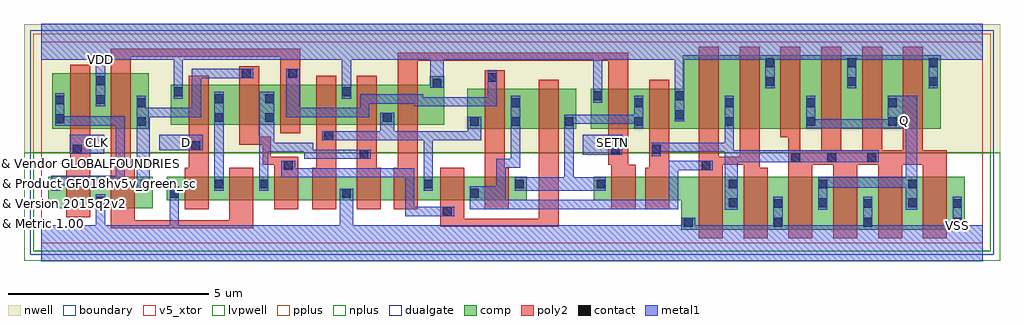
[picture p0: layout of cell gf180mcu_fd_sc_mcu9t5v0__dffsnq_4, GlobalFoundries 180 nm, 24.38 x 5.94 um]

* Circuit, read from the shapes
.subckt gf180mcu_fd_sc_mcu9t5v0__dffsnq_4 CLK D Q SETN VDD VSS
XM1 VSS CLK n1 VSUBS nfet_05v0 w=0.79u l=0.6u
XM2 n2 n1 VSS VSUBS nfet_05v0 w=0.79u l=0.6u
XM3 n3 D VSS VSUBS nfet_05v0 w=0.59u l=0.6u
XM4 n4 n1 n3 VSUBS nfet_05v0 w=0.59u l=0.6u
XM5 n5 n2 n4 VSUBS nfet_05v0 w=0.59u l=0.6u
XM6 VSS n6 n5 VSUBS nfet_05v0 w=0.59u l=0.6u
XM7 n7 n4 VSS VSUBS nfet_05v0 w=0.59u l=0.6u
XM8 n6 SETN n7 VSUBS nfet_05v0 w=0.59u l=0.6u
XM9 n8 n2 n6 VSUBS nfet_05v0 w=0.59u l=0.6u
XM10 n9 n1 n8 VSUBS nfet_05v0 w=0.59u l=0.6u
XM11 n10 SETN n9 VSUBS nfet_05v0 w=0.59u l=0.6u
XM12 VSS n11 n10 VSUBS nfet_05v0 w=0.59u l=0.6u
XM13 n11 n8 VSS VSUBS nfet_05v0 w=1.32u l=0.6u m=2
XM14 Q n11 VSS VSUBS nfet_05v0 w=1.32u l=0.6u m=4
XM15 VDD CLK n1 n12 pfet_05v0 w=1.38u l=0.5u
XM16 n2 n1 VDD n12 pfet_05v0 w=1.38u l=0.5u
XM17 n3 D VDD n12 pfet_05v0 w=1u l=0.5u
XM18 n4 n2 n3 n12 pfet_05v0 w=1u l=0.5u
XM19 n13 n1 n4 n12 pfet_05v0 w=1u l=0.5u
XM20 VDD n6 n13 n12 pfet_05v0 w=1u l=0.5u
XM21 n6 n4 VDD n12 pfet_05v0 w=1u l=0.5u
XM22 VDD SETN n6 n12 pfet_05v0 w=1u l=0.5u
XM23 n8 n1 n6 n12 pfet_05v0 w=1u l=0.5u
XM24 n9 n2 n8 n12 pfet_05v0 w=1u l=0.5u
XM25 n9 SETN VDD n12 pfet_05v0 w=1u l=0.5u
XM26 VDD n11 n9 n12 pfet_05v0 w=1u l=0.5u
XM27 n11 n8 VDD n12 pfet_05v0 w=1.83u l=0.5u m=2
XM28 Q n11 VDD n12 pfet_05v0 w=1.83u l=0.5u m=4
.ends

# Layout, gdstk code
import gdstk
lib = gdstk.Library(unit=1e-6, precision=1e-09)
def R(c, l, rs):  # rectangles x0, y0, x1, y1
    for r in rs: c.add(gdstk.rectangle(r[:2], r[2:], *l))
def A(c, l, x, y, w, h, nx, ny, dx, dy):  # array of equal rectangles
    R(c, l, [(x+i*dx, y+j*dy, x+i*dx+w, y+j*dy+h) for i in range(nx) for j in range(ny)])
def P(c, l, *ps):  # polygons
    for p in ps: c.add(gdstk.Polygon(p, *l))
boundary = (0, 0)
nwell = (21, 0)
comp = (22, 0)
poly2 = (30, 0)
pplus = (31, 0)
nplus = (32, 0)
contact = (33, 0)
metal1 = (34, 0)
dualgate = (55, 0)
v5_xtor = (112, 1)
lvpwell = (204, 0)

gf180mcu_fd_sc_mcu9t5v0_ = lib.new_cell('gf180mcu_fd_sc_mcu9t5v0__dffsnq_4')
R(gf180mcu_fd_sc_mcu9t5v0_, boundary, [(0,0,23.52,5.04)])
R(gf180mcu_fd_sc_mcu9t5v0_, nwell, [(-0.43,2.265,23.95,5.47)])
R(gf180mcu_fd_sc_mcu9t5v0_, comp, [(0.18,0.875,2.78,1.665), (3.14,1.075,12.125,1.665), (0.28,2.865,2.68,4.245), (10.645,2.865,13.365,3.865)])
P(gf180mcu_fd_sc_mcu9t5v0_, comp, [(3.24,2.965),(3.24,3.965),(9.705,3.965),(9.705,4.18),(10.065,4.18),(10.065,2.965)],
  [(13.725,2.865),(13.725,3.865),(16.025,3.865),(16.025,4.695),(22.465,4.695),(22.465,2.865)],
  [(15.985,0.345),(15.985,1.075),(13.805,1.075),(13.805,1.665),(23.065,1.665),(23.065,0.345)])
P(gf180mcu_fd_sc_mcu9t5v0_, poly2, [(0.62,0.655),(0.62,1.885),(0.72,1.885),(0.72,4.465),(1.22,4.465),(1.22,0.655)],
  [(3.58,0.855),(3.58,1.885),(3.68,1.885),(3.68,4.185),(4.18,4.185),(4.18,0.855)],
  [(5.82,0.855),(5.82,1.965),(5.535,1.965),(5.535,2.465),(4.945,2.465),(4.945,4.425),(5.445,4.425),(5.445,2.665),(5.735,2.665),(5.735,2.165),(6.42,2.165),(6.42,0.855)],
  [(1.74,0.375),(1.74,4.865),(6.465,4.865),(6.465,2.745),(5.965,2.745),(5.965,4.665),(2.24,4.665),(2.24,1.885),(2.34,1.885),(2.34,0.575),(4.7,0.575),(4.7,1.885),(5.3,1.885),(5.3,0.375)],
  [(6.765,0.855),(6.765,1.885),(6.865,1.885),(6.865,4.185),(7.365,4.185),(7.365,0.855)],
  [(7.885,0.855),(7.885,4.185),(8.385,4.185),(8.385,1.885),(8.485,1.885),(8.485,0.855)],
  [(11.085,0.855),(11.085,4.325),(11.585,4.325),(11.585,1.885),(11.685,1.885),(11.685,0.855)],
  [(9.965,0.415),(9.965,1.885),(10.565,1.885),(10.565,0.615),(12.425,0.615),(12.425,4.085),(12.925,4.085),(12.925,0.415)],
  [(8.805,0.855),(8.805,1.885),(8.905,1.885),(8.905,4.765),(14.665,4.765),(14.665,1.965),(14.845,1.965),(14.845,0.855),(14.245,0.855),(14.245,1.965),(14.165,1.965),(14.165,4.565),(9.405,4.565),(9.405,0.855)],
  [(15.085,0.855),(15.085,1.885),(15.185,1.885),(15.185,4.085),(15.685,4.085),(15.685,0.855)],
  [(16.425,0.125),(16.425,4.915),(16.925,4.915),(16.925,2.165),(17.445,2.165),(17.445,4.915),(17.945,4.915),(17.945,1.885),(18.145,1.885),(18.145,0.125),(17.545,0.125),(17.545,1.965),(17.025,1.965),(17.025,0.125)],
  [(18.665,0.125),(18.665,2.645),(18.465,2.645),(18.465,4.915),(18.965,4.915),(18.965,2.325),(19.485,2.325),(19.485,4.915),(19.985,4.915),(19.985,2.325),(20.505,2.325),(20.505,4.915),(21.005,4.915),(21.005,2.325),(21.525,2.325),(21.525,4.915),(22.025,4.915),(22.025,2.325),(22.625,2.325),(22.625,0.125),(22.025,0.125),(22.025,1.965),(21.505,1.965),(21.505,0.125),(20.905,0.125),(20.905,1.965),(20.385,1.965),(20.385,0.125),(19.785,0.125),(19.785,1.965),(19.265,1.965),(19.265,0.125)])
R(gf180mcu_fd_sc_mcu9t5v0_, pplus, [(-0.2,2.265,23.72,5.24)])
R(gf180mcu_fd_sc_mcu9t5v0_, nplus, [(-0.2,-0.2,23.72,2.265)])
A(gf180mcu_fd_sc_mcu9t5v0_, contact, 16.055, 0.415, 0.22, 0.22, 4, 1, 2.24, 0)
A(gf180mcu_fd_sc_mcu9t5v0_, contact, 18.295, 0.885, 0.22, 0.22, 3, 1, 2.24, 0)
A(gf180mcu_fd_sc_mcu9t5v0_, contact, 17.175, 0.905, 0.22, 0.22, 3, 2, 2.24, 0.47)
A(gf180mcu_fd_sc_mcu9t5v0_, contact, 17.075, 2.935, 0.22, 0.22, 3, 2, 2.04, 0.47)
A(gf180mcu_fd_sc_mcu9t5v0_, contact, 18.095, 3.935, 0.22, 0.22, 3, 2, 2.04, 0.47)
R(gf180mcu_fd_sc_mcu9t5v0_, contact, [(10.035,0.685,10.255,0.905), (1.37,0.945,1.59,1.165), (3.21,1.145,3.43,1.365), (7.515,1.145,7.735,1.365), (10.715,1.145,10.935,1.365), (0.25,1.375,0.47,1.595), (2.49,1.375,2.71,1.595), (4.33,1.375,4.55,1.595), (5.45,1.375,5.67,1.595), (9.555,1.375,9.775,1.595), (11.835,1.375,12.055,1.595), (13.875,1.375,14.095,1.595), (6.06,1.835,6.28,2.055), (16.495,1.835,16.715,2.055), (1.865,1.9,2.085,2.12), (18.735,2.035,18.955,2.255), (19.635,2.035,19.855,2.255), (20.64,2.035,20.86,2.255), (7.955,2.115,8.175,2.335), (14.235,2.225,14.455,2.445), (15.255,2.24,15.475,2.46), (0.79,2.245,1.01,2.465), (3.75,2.335,3.97,2.555), (7.075,2.575,7.295,2.795), (2.39,2.935,2.61,3.155), (10.715,2.935,10.935,3.155), (11.735,2.935,11.955,3.155), (13.075,2.935,13.295,3.155), (14.815,2.935,15.035,3.155), (0.35,3,0.57,3.22), (4.33,3.035,4.55,3.255), (5.595,3.035,5.815,3.255), (8.535,3.035,8.755,3.255), (15.835,3.105,16.055,3.325), (2.39,3.405,2.61,3.625), (11.735,3.405,11.955,3.625), (14.815,3.405,15.035,3.625), (0.35,3.47,0.57,3.69), (1.37,3.485,1.59,3.705), (4.33,3.505,4.55,3.725), (5.595,3.505,5.815,3.725), (13.795,3.575,14.015,3.795), (15.835,3.575,16.055,3.795), (3.31,3.675,3.53,3.895), (7.515,3.675,7.735,3.895), (9.775,3.89,9.995,4.11), (1.37,3.955,1.59,4.175), (11.155,4.035,11.375,4.255), (5.015,4.135,5.235,4.355), (6.175,4.135,6.395,4.355)])
R(gf180mcu_fd_sc_mcu9t5v0_, metal1, [(4.325,1.315,4.555,3.785), (13.53,2.22,14.515,2.71), (0.71,2.24,1.57,2.71), (2.945,2.33,4.03,2.71)])
P(gf180mcu_fd_sc_mcu9t5v0_, metal1, [(0.245,1.315),(0.245,1.685),(1.86,1.685),(1.86,2.94),(0.345,2.94),(0.345,3.75),(0.575,3.75),(0.575,3.17),(2.09,3.17),(2.09,1.455),(0.475,1.455),(0.475,1.315)],
  [(2.385,1.315),(2.385,3.685),(2.615,3.685),(2.615,3.385),(3.765,3.385),(3.765,4.36),(5.295,4.36),(5.295,4.13),(3.995,4.13),(3.995,3.155),(2.715,3.155),(2.715,1.315)],
  [(5.445,1.315),(5.445,3.785),(5.82,3.785),(5.82,2.52),(6.79,2.52),(6.79,2.34),(8.235,2.34),(8.235,2.11),(6.565,2.11),(6.565,2.29),(5.675,2.29),(5.675,1.315)],
  [(9.09,0.68),(9.09,1.65),(6,1.65),(6,2.06),(6.34,2.06),(6.34,1.88),(9.32,1.88),(9.32,0.91),(10.315,0.91),(10.315,0.68)],
  [(9.55,1.315),(9.55,2.57),(7.015,2.57),(7.015,2.8),(8.475,2.8),(8.475,3.26),(8.815,3.26),(8.815,2.8),(10.655,2.8),(10.655,3.16),(10.995,3.16),(10.995,2.57),(9.78,2.57),(9.78,1.315)],
  [(6.115,3.155),(6.115,4.36),(6.455,4.36),(6.455,3.385),(7.97,3.385),(7.97,3.72),(9.545,3.72),(9.545,3.655),(11.15,3.655),(11.15,4.315),(11.38,4.315),(11.38,3.425),(9.32,3.425),(9.32,3.49),(8.2,3.49),(8.2,3.155)],
  [(11.83,1.315),(11.83,1.655),(13.07,1.655),(13.07,3.215),(14.81,3.215),(14.81,3.685),(15.04,3.685),(15.04,2.875),(14.81,2.875),(14.81,2.985),(13.3,2.985),(13.3,1.655),(14.1,1.655),(14.1,1.315)],
  [(10.71,0.855),(10.71,1.425),(11.37,1.425),(11.37,2.115),(11.73,2.115),(11.73,3.685),(11.96,3.685),(11.96,1.885),(11.6,1.885),(11.6,1.085),(15.68,1.085),(15.68,2.06),(16.775,2.06),(16.775,1.83),(15.91,1.83),(15.91,0.855)],
  [(17.075,0.845),(17.075,2.29),(15.48,2.29),(15.48,2.18),(15.25,2.18),(15.25,2.52),(17.07,2.52),(17.07,3.685),(17.305,3.685),(17.305,2.325),(20.92,2.325),(20.92,2.03),(17.4,2.03),(17.4,0.845)],
  [(19.405,0.845),(19.405,1.655),(21.59,1.655),(21.59,2.875),(19.11,2.875),(19.11,3.685),(19.34,3.685),(19.34,3.105),(21.15,3.105),(21.15,3.685),(21.88,3.685),(21.88,0.845),(21.59,0.845),(21.59,1.395),(19.64,1.395),(19.64,0.845)],
  [(0,-0.45),(0,0.45),(1.365,0.45),(1.365,1.225),(1.595,1.225),(1.595,0.45),(3.205,0.45),(3.205,1.425),(3.435,1.425),(3.435,0.45),(7.455,0.45),(7.455,1.37),(7.795,1.37),(7.795,0.45),(15.995,0.45),(15.995,0.64),(16.335,0.64),(16.335,0.45),(18.29,0.45),(18.29,1.165),(18.52,1.165),(18.52,0.45),(20.53,0.45),(20.53,1.165),(20.76,1.165),(20.76,0.45),(22.77,0.45),(22.77,1.165),(23,1.165),(23,0.45),(23.52,0.45),(23.52,-0.45)],
  [(15.83,3.045),(15.83,4.59),(14.02,4.59),(14.02,3.515),(13.79,3.515),(13.79,4.59),(10.055,4.59),(10.055,3.885),(9.715,3.885),(9.715,4.59),(7.74,4.59),(7.74,3.615),(7.51,3.615),(7.51,4.59),(3.535,4.59),(3.535,3.615),(3.305,3.615),(3.305,4.59),(1.595,4.59),(1.595,3.425),(1.365,3.425),(1.365,4.59),(0,4.59),(0,5.49),(23.52,5.49),(23.52,4.59),(22.4,4.59),(22.4,3.875),(22.17,3.875),(22.17,4.59),(20.36,4.59),(20.36,3.875),(20.13,3.875),(20.13,4.59),(18.32,4.59),(18.32,3.875),(18.09,3.875),(18.09,4.59),(16.06,4.59),(16.06,3.045)])
R(gf180mcu_fd_sc_mcu9t5v0_, dualgate, [(-0.28,-0.28,23.8,5.32)])
R(gf180mcu_fd_sc_mcu9t5v0_, v5_xtor, [(0,0,23.52,5.04)])
R(gf180mcu_fd_sc_mcu9t5v0_, lvpwell, [(-0.43,-0.43,23.95,2.265)])
gf180mcu_fd_sc_mcu9t5v0_.add(gdstk.Label('CLK', (1.4,2.52), layer=34, texttype=10))
gf180mcu_fd_sc_mcu9t5v0_.add(gdstk.Label('D', (3.64,2.52), layer=34, texttype=10))
gf180mcu_fd_sc_mcu9t5v0_.add(gdstk.Label('Q', (21.56,3.08), layer=34, texttype=10))
gf180mcu_fd_sc_mcu9t5v0_.add(gdstk.Label('SETN', (14.28,2.52), layer=34, texttype=10))
gf180mcu_fd_sc_mcu9t5v0_.add(gdstk.Label('VDD', (1.48,4.59), layer=34, texttype=10))
gf180mcu_fd_sc_mcu9t5v0_.add(gdstk.Label('VSS', (22.885,0.45), layer=34, texttype=10))
gf180mcu_fd_sc_mcu9t5v0_.add(gdstk.Label('& Vendor GLOBALFOUNDRIES', (0,2), layer=63, texttype=63))
gf180mcu_fd_sc_mcu9t5v0_.add(gdstk.Label('& Product GF018hv5v_green_sc9', (0,1.5), layer=63, texttype=63))
gf180mcu_fd_sc_mcu9t5v0_.add(gdstk.Label('& Version 2015q2v2', (0,1), layer=63, texttype=63))
gf180mcu_fd_sc_mcu9t5v0_.add(gdstk.Label('& Metric 1.00', (0,0.5), layer=63, texttype=63))

lib.write_gds('gf180mcu_fd_sc_mcu9t5v0__dffsnq_4.gds')
